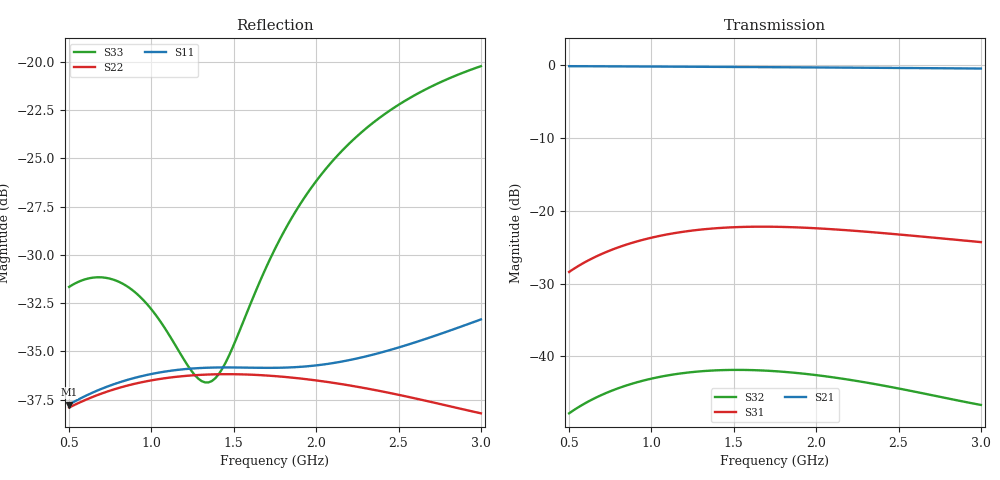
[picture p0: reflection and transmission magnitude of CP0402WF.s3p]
!	AVX THIN FILM OPERATION
!	CP0402 WIDEBAND HIGH DIRECTIVITY  COUPLER
!	P/N CP0402W2700FNTR
! 	3 April 2012
# hz S ma R 50
! 3 Port Network Data from data block
! freq  magS11  angS11  magS12  angS12  magS13  angS13
!  magS21  angS21
!  magS22  angS22  magS23  angS23
!  magS31  angS31  magS32  angS32
!  magS33  angS33
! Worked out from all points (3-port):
!   121 points, 500 MHz to 3 GHz, reference 50 ohm
!   strongest paths, dB at 500 MHz, 991.7 MHz, 1.617 GHz, 2.242 GHz, 3 GHz:
!     S21: -0.1, -0.2, -0.2, -0.3, -0.4
!     S31: -28.4, -23.7, -22.2, -22.8, -24.3
!     S32: -47.8, -43.1, -41.9, -43.4, -46.7
!   lowest |S11| = -37.8 dB at 500 MHz (marker M1), VSWR 1.03, Z = 51.3 + j0.246 ohm
!   |S11| at or under -10 dB: start of sweep to end of sweep
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5e8  0.01295 10.7  0.9864 -3.6  0.03806 66.0
     0.9864 -3.6  0.01272 9.7  0.004066 71.9
     0.03806 66.0  0.004066 71.9  0.02614 -91.1
6.875e8  0.01417 9.2  0.9843 -4.8  0.04997 57.4
         0.9843 -4.8  0.01378 8.2  0.005372 65.0
         0.04997 57.4  0.005372 65.0  0.02768 -109.6
8.666667e8  0.01506 6.6  0.9821 -6.0  0.05956 49.5
            0.9821 -6.0  0.01455 5.6  0.006416 58.6
            0.05956 49.5  0.006416 58.6  0.02597 -122.1
1.2625e9  0.01608 0.1  0.9772 -8.6  0.07357 33.3
          0.9772 -8.6  0.01543 -1.6  0.007837 45.6
          0.07357 33.3  0.007837 45.6  0.01545 -114.7
1.345833e9  0.01614 -1.1  0.9761 -9.2  0.07523 30.3
            0.9761 -9.2  0.01549 -3.2  0.007971 43.1
            0.07523 30.3  0.007971 43.1  0.01478 -101.1
1.45e9  0.01616 -2.4  0.9747 -9.9  0.0767 26.6
        0.9747 -9.9  0.01552 -5.3  0.008064 40.3
        0.0767 26.6  0.008064 40.3  0.01663 -83.5
1.7625e9  0.01613 -4.8  0.9703 -11.9  0.0777 16.9
          0.9703 -11.9  0.01533 -11.9  0.007899 33.6
          0.0777 16.9  0.007899 33.6  0.03361 -67.0
1.991667e9  0.01635 -5.1  0.9669 -13.4  0.076 11.3
            0.9669 -13.4  0.01497 -17.2  0.00746 30.5
            0.076 11.3  0.00746 30.5  0.0486 -71.4
2.2625e9  0.01711 -5.3  0.9627 -15.1  0.07251 6.3
          0.9627 -15.1  0.01437 -23.9  0.006737 29.2
          0.07251 6.3  0.006737 29.2  0.06503 -80.0
3e9  0.02152 -11.6  0.95 -19.8  0.06101 -0.0
     0.95 -19.8  0.01229 -48.2  0.004643 42.8
     0.06101 -0.0  0.004643 42.8  0.09756 -101.9
